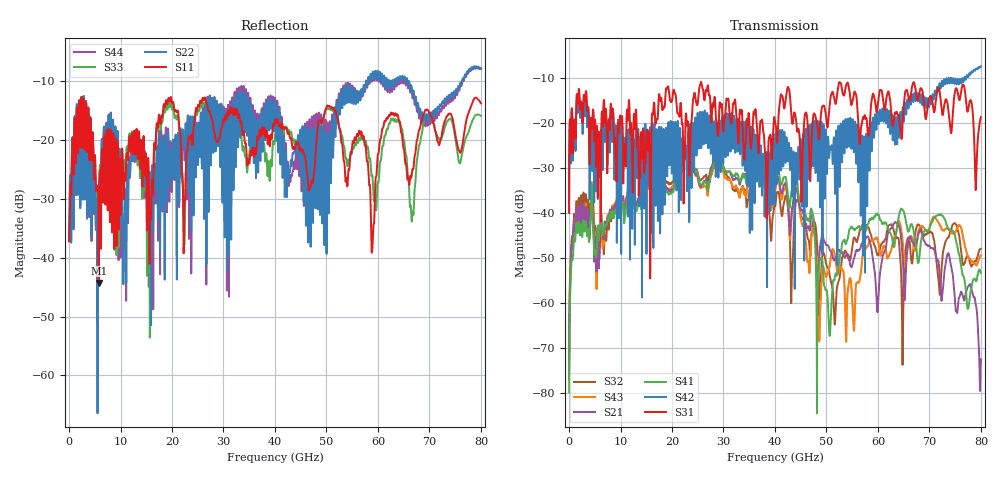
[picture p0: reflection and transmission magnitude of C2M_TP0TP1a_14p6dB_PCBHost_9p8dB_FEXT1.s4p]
!! Reference: shanbhag_3dj_03_2305.pdf
!! CHANNEL DESCRIPTION: TP0_TP1a C2M Channel, PCB Host
!! MODEL DESCRIPTION: s4p, FEXT1
!! CONNECTOR DESCRIPTION: OSFP 200G SMT
!! MODEL STATUS: Developmental
!! PORT DEFINITIONS:
!! Port  1  ----->  Side A  Side B  <-----  Port  2
!! Port  3  ----->  Side A  Side B  <-----  Port  4
# HZ S MA R 50.000000
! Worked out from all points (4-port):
!   8000 points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, 10 MHz to 80 GHz, reference 50 ohm
!   strongest paths, dB at 10 MHz, 20.01 GHz, 40.01 GHz, 60.01 GHz, 80 GHz:
!     S31: -40.0, -15.0, -19.8, -15.6, -18.8
!     S42: -40.0, -27.8, -24.7, -18.1, -7.4
!     S41: -80.0, -35.3, -32.1, -40.5, -53.4
!     S21: -77.1, -34.8, -34.0, -60.9, -72.6
!     S43: -77.1, -34.2, -35.0, -46.3, -49.5
!     S32: -74.5, -33.2, -38.5, -49.4, -48.0
!   lowest |S11| = -44.3 dB at 5.75 GHz (marker M1), VSWR 1.01, Z = 50.6 + j0.0312 ohm
!   |S11| at or under -10 dB: start of sweep to end of sweep
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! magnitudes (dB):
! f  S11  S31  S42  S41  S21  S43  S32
! 10 MHz  -37.2  -40.0  -40.0  -80.0  -77.1  -77.1  -74.5
! 1.61 GHz  -15.2  -14.5  -15.9  -44.4  -42.4  -40.2  -39.6
! 5.75 GHz  -44.3  -22.0  -22.2  -45.0  -46.0  -46.2  -46.0
! 37.64 GHz  -19.0  -21.2  -27.6  -27.3  -28.3  -28.5  -30.4
! 50.62 GHz  -14.4  -16.3  -26.3  -67.4  -48.2  -51.8  -53.9
! 58.98 GHz  -37.5  -13.8  -19.1  -41.4  -49.8  -46.3  -46.2
! 80 GHz  -13.8  -18.8  -7.4  -53.4  -72.6  -49.5  -48.0
